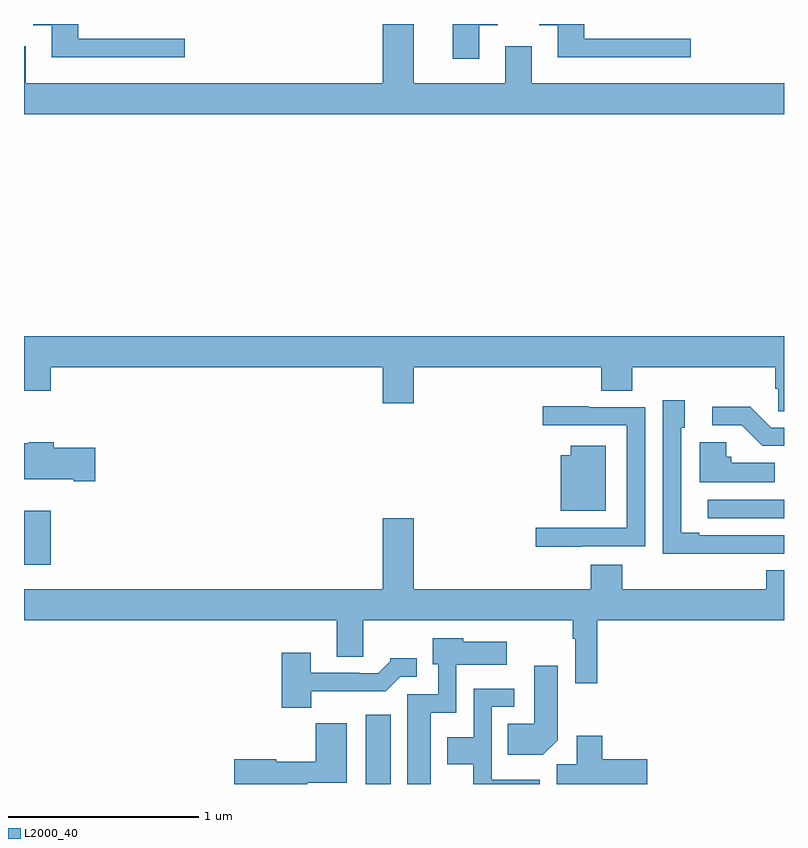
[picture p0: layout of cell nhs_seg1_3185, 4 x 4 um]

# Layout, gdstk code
import gdstk
lib = gdstk.Library(unit=1e-6, precision=1e-09)
def R(c, l, rs):  # rectangles x0, y0, x1, y1
    for r in rs: c.add(gdstk.rectangle(r[:2], r[2:], *l))
def P(c, l, *ps):  # polygons
    for p in ps: c.add(gdstk.Polygon(p, *l))
L2000_40 = (2000, 40)

nhs_seg1_3185 = lib.new_cell('nhs_seg1_3185')
R(nhs_seg1_3185, L2000_40, [(284.798,556.199,284.929,556.564), (283,557.352,283.142,557.638), (286.599,557.598,287,557.694)])
P(nhs_seg1_3185, L2000_40, [(285.397,560.193),(285.493,560.193),(285.493,560.199),(285.257,560.199),(285.257,560.016),(285.397,560.016)],
  [(283.846,560.121),(283.285,560.121),(283.285,560.199),(283.049,560.199),(283.049,560.193),(283.145,560.193),(283.145,560.024),(283.846,560.024)],
  [(286.51,560.121),(285.949,560.121),(285.949,560.199),(285.713,560.199),(285.713,560.193),(285.809,560.193),(285.809,560.024),(286.51,560.024)],
  [(287,559.888),(285.673,559.888),(285.673,560.083),(285.533,560.083),(285.533,559.888),(285.052,559.888),(285.052,560.199),(284.888,560.199),(284.888,559.888),(283.009,559.888),(283.009,560.083),(283,560.083),(283,559.724),(287,559.724)],
  [(287,558.556),(283,558.556),(283,558.268),(283.142,558.268),(283.142,558.392),(284.888,558.392),(284.888,558.204),(285.052,558.204),(285.052,558.392),(286.037,558.392),(286.037,558.268),(286.202,558.268),(286.202,558.392),(286.955,558.392),(286.955,558.28),(286.969,558.28),(286.969,558.16),(287,558.16)],
  [(286.823,557.412),(287,557.412),(287,557.508),(286.555,557.508),(286.555,557.521),(286.458,557.521),(286.458,558.075),(286.477,558.075),(286.477,558.22),(286.362,558.22),(286.362,557.411),(286.823,557.411)],
  [(285.937,557.451),(286.269,557.451),(286.269,558.183),(285.973,558.183),(285.973,558.187),(285.729,558.187),(285.729,558.087),(286.173,558.087),(286.173,557.547),(285.693,557.547),(285.693,557.447),(285.937,557.447)],
  [(287,558.075),(286.932,558.075),(286.822,558.185),(286.623,558.185),(286.623,558.087),(286.778,558.087),(286.886,557.979),(287,557.979)],
  [(283.375,557.97),(283.157,557.97),(283.157,557.998),(283.026,557.998),(283.026,557.992),(283,557.992),(283,557.804),(283.262,557.804),(283.262,557.792),(283.375,557.792)],
  [(286.952,557.89),(286.722,557.89),(286.722,557.922),(286.696,557.922),(286.696,557.998),(286.556,557.998),(286.556,557.786),(286.952,557.786)],
  [(286.063,557.98),(285.878,557.98),(285.878,557.929),(285.824,557.929),(285.824,557.636),(286.063,557.636)],
  [(286.016,557.06),(287,557.06),(287,557.323),(286.907,557.323),(286.907,557.224),(286.148,557.224),(286.148,557.353),(285.983,557.353),(285.983,557.224),(285.052,557.224),(285.052,557.599),(284.888,557.599),(284.888,557.224),(283,557.224),(283,557.06),(284.645,557.06),(284.645,556.87),(284.785,556.87),(284.785,557.06),(285.888,557.06),(285.888,556.964),(285.9,556.964),(285.9,556.728),(286.016,556.728)],
  [(285.142,556.574),(285.276,556.574),(285.276,556.826),(285.541,556.826),(285.541,556.948),(285.312,556.948),(285.312,556.966),(285.152,556.966),(285.152,556.83),(285.18,556.83),(285.18,556.671),(285.017,556.671),(285.017,556.199),(285.142,556.199)],
  [(284.512,556.688),(284.903,556.688),(284.979,556.764),(285.067,556.764),(285.067,556.861),(284.928,556.861),(284.928,556.846),(284.864,556.782),(284.765,556.782),(284.765,556.785),(284.509,556.785),(284.509,556.891),(284.357,556.891),(284.357,556.601),(284.512,556.601)],
  [(285.808,556.43),(285.808,556.822),(285.686,556.822),(285.686,556.516),(285.547,556.516),(285.547,556.352),(285.73,556.352)],
  [(285.715,556.222),(285.462,556.222),(285.462,556.605),(285.58,556.605),(285.58,556.701),(285.366,556.701),(285.366,556.444),(285.227,556.444),(285.227,556.304),(285.364,556.304),(285.364,556.199),(285.715,556.199)],
  [(284.49,556.205),(284.698,556.205),(284.698,556.519),(284.536,556.519),(284.536,556.315),(284.328,556.315),(284.328,556.328),(284.106,556.328),(284.106,556.199),(284.49,556.199)],
  [(286.279,556.328),(286.043,556.328),(286.043,556.453),(285.908,556.453),(285.908,556.304),(285.803,556.304),(285.803,556.199),(286.279,556.199)])

lib.write_gds('nhs_seg1_3185.gds')
